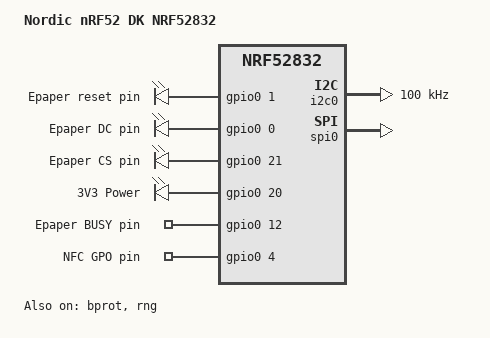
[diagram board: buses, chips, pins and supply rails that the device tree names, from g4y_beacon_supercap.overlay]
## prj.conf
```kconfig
CONFIG_BT=y
CONFIG_BT_DEVICE_NAME="G4y_CapVersion"
##CONFIG_BT_CTLR_TX_PWR_MINUS_4=y  #Set the TX power
CONFIG_BT_LL_SW_SPLIT=n
CONFIG_BT_CTLR_ADVANCED_FEATURES=y
CONFIG_BT_CTLR_TX_PWR_DYNAMIC_CONTROL=y
CONFIG_REBOOT=y


CONFIG_I2C=y
CONFIG_I2C_NRFX=y
CONFIG_GPIO=y
CONFIG_SPI=y
CONFIG_PINCTRL=y
CONFIG_CLOCK_CONTROL_NRF_K32SRC_RC=y

CONFIG_LOG=n
CONFIG_SERIAL=n
CONFIG_STDOUT_CONSOLE=n


CONFIG_PM=y
CONFIG_PM_DEVICE=y
CONFIG_PM_DEVICE_RUNTIME=y
CONFIG_PM_S2RAM=n


CONFIG_DEBUG_OPTIMIZATIONS=n
CONFIG_DEBUG_THREAD_INFO=n
CONFIG_GPIO_AS_PINRESET=n
```

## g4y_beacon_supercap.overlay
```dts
// To get started, press Ctrl+Space to bring up the completion menu and view the available nodes.

// You can also use the buttons in the sidebar to perform actions on nodes.
// Actions currently available include:

// * Enabling / disabling the node
// * Adding the bus to a bus
// * Removing the node
// * Connecting ADC channels

// For more help, browse the DeviceTree documentation at https://docs.zephyrproject.org/latest/guides/dts/index.html
// You can also visit the nRF DeviceTree extension documentation at https://nrfconnect.github.io/vscode-nrf-connect/devicetree/nrfdevicetree.html

&uart0 {
	status = "disabled";
};


&i2c0 {
    clock-frequency = <I2C_BITRATE_STANDARD>;
    status = "okay";
};


&timer0 {
    status = "disabled";
};

&timer1 {
    status = "disabled";
};

&timer2 {
    status = "disabled";
};


/ {
    model = "Nordic nRF52 DK NRF52832";
    compatible = "nordic,nrf52-dk-nrf52832";

    leds {
        compatible = "gpio-leds";

        epreset: ep_reset {
            gpios = <&gpio0 1 GPIO_ACTIVE_HIGH>;
            label = "Epaper reset pin";
        };

        epdc: ep_dc {
            gpios = <&gpio0 0 GPIO_ACTIVE_HIGH>;
            label = "Epaper DC pin";
        };

        csgpios: cs_gpios {
            gpios = <&gpio0 21 GPIO_ACTIVE_HIGH>;
            label = "Epaper CS pin";
        };

        pwrgpios: pwr_gpios {
            gpios = <&gpio0 20 GPIO_ACTIVE_HIGH>;
            label = "3V3 Power";
        };

    };

    buttons {
        compatible = "gpio-keys";
        epbusy: ep_busy {
            gpios = <&gpio0 12  GPIO_ACTIVE_HIGH>;
            label = "Epaper BUSY pin";
        };

        nfcgpo: nfc_gpo {
            gpios = <&gpio0 4 GPIO_ACTIVE_HIGH>;
            label = "NFC GPO pin";
        };
    };
};

&spi0 {
	status = "okay";
};

&spi0_default {
    group1 {
        psels = <NRF_PSEL(SPIM_MOSI, 0, 5)>,
                <NRF_PSEL(SPIM_MISO, 0, 2)>,
                <NRF_PSEL(SPIM_SCK, 0, 14)>;
    };
};

&i2c0_default {
    scl_group {
        psels = <NRF_PSEL(TWIM_SCL, 0, 16)>;
        nordic,drive-mode = <NRF_DRIVE_H0H1>;
    };
    sda_group {
        psels = <NRF_PSEL(TWIM_SDA, 0, 18)>;
        nordic,drive-mode = <NRF_DRIVE_H0D1>;
    };
};
/delete-node/ &{/pin-controller/i2c0_default/group1/};

&bprot {
    status = "okay";
};

&wdt {
    status = "disabled";
};

&rng {
    status = "okay";
};

&rtc0 {
    status = "disabled";
};

&rtc1 {
    status = "disabled";
};

&swi2 {
    status = "disabled";
};

&swi3 {
    status = "disabled";
};

&swi4 {
    status = "disabled";
};

&swi5 {
    status = "disabled";
};

&temp {
    status = "disabled";
};

&adc {
    status = "disabled";

  };
&uicr {
    status = "disabled";
};

&clock {
    status = "okay";
};

&ficr {
    status = "disabled";
};

&spi0_sleep {

    group2 {
        psels = <NRF_PSEL(SPIM_SCK, 0, 14)>,
                <NRF_PSEL(SPIM_MOSI, 0, 5)>,
                <NRF_PSEL(SPIM_MISO, 0, 2)>;
        nordic,invert;
        low-power-enable;
    };
};
/delete-node/ &{/pin-controller/spi0_sleep/group1/};

&i2c0_sleep {

    group2 {
        psels = <NRF_PSEL(TWIM_SCL, 0, 16)>, <NRF_PSEL(TWIM_SDA, 0, 18)>;
    };
};
/delete-node/ &{/pin-controller/i2c0_sleep/group1/};
```

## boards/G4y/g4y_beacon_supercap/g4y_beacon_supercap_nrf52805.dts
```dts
// Copyright (c) 2023 Nordic Semiconductor ASA
// SPDX-License-Identifier: Apache-2.0

/dts-v1/;
#include <nordic/nrf52805_caaa.dtsi>

/ {
	model = "G4y_Beacon_SuperCap";
	compatible = "g4y,g4y-beacon-supercap";

	chosen {
		zephyr,sram = &sram0;
		zephyr,flash = &flash0;
		zephyr,code-partition = &slot0_partition;
	};
};

&flash0 {
	partitions {
		compatible = "fixed-partitions";
		#address-cells = <1>;
		#size-cells = <1>;

		boot_partition: partition@0 {
			label = "mcuboot";
			reg = <0x0 0xc000>;
		};
		slot0_partition: partition@c000 {
			label = "image-0";
			reg = <0xc000 0xa000>;
		};
		slot1_partition: partition@16000 {
			label = "image-1";
			reg = <0x16000 0xa000>;
		};
		scratch_partition: partition@20000 {
			label = "image-scratch";
			reg = <0x20000 0xa000>;
		};
		storage_partition: partition@2a000 {
			label = "storage";
			reg = <0x2a000 0x6000>;
		};
	};
};

&pinctrl {
	i2c0_default: i2c0_default {
		group1 {
			psels = <NRF_PSEL(TWIM_SDA, 0, 18)>,
				<NRF_PSEL(TWIM_SCL, 0, 16)>;
		};
	};

	i2c0_sleep: i2c0_sleep {
		group1 {
			psels = <NRF_PSEL(TWIM_SDA, 0, 18)>,
				<NRF_PSEL(TWIM_SCL, 0, 16)>;
			low-power-enable;
		};
	};

	spi0_default: spi0_default {
		group1 {
			psels = <NRF_PSEL(SPIM_SCK, 0, 14)>,
				<NRF_PSEL(SPIM_MOSI, 0, 5)>,
				<NRF_PSEL(SPIM_MISO, 0, 2)>;
		};
	};

	spi0_sleep: spi0_sleep {
		group1 {
			psels = <NRF_PSEL(SPIM_SCK, 0, 14)>,
				<NRF_PSEL(SPIM_MOSI, 0, 5)>,
				<NRF_PSEL(SPIM_MISO, 0, 2)>;
			low-power-enable;
		};
	};
};




&i2c0 {
	compatible = "nordic,nrf-twi";
	/* Cannot be used together with spi1. */
	 status = "okay"; 
	pinctrl-0 = <&i2c0_default>;
	pinctrl-1 = <&i2c0_sleep>;
	pinctrl-names = "default", "sleep";
};

&spi0 {
	compatible = "nordic,nrf-spi";
	/* Cannot be used together with i2c0. */
	/* status = "okay"; */
	pinctrl-0 = <&spi0_default>;
	pinctrl-1 = <&spi0_sleep>;
	pinctrl-names = "default", "sleep";
};

&gpiote {
	status = "okay";
};

&gpio0 {
	status = "okay";
};
```

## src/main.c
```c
/* main.c - Application main entry point */

/*
 * Copyright (c) 2015-2016 Intel Corporation
 *
 * SPDX-License-Identifier: Apache-2.0
 */

#include <zephyr/types.h>
#include <stddef.h>
#include <zephyr/sys/util.h>
#include <zephyr/sys/byteorder.h>
#include <zephyr/drivers/gpio.h>
#include <zephyr/bluetooth/bluetooth.h>
#include <zephyr/bluetooth/hci.h>
#include <zephyr/bluetooth/hci_vs.h>
#include <zephyr/sys/reboot.h>
#include <zephyr/toolchain.h>
#include <zephyr/pm/pm.h>
#include <zephyr/pm/policy.h>
#include <zephyr/pm/device.h>
#include "../../zephyr/subsys/bluetooth/controller/include/ll.h"
#include <zephyr/drivers/i2c.h>
#include <errno.h>
#include <zephyr/kernel.h>
#include <zephyr/device.h>

#include "NfcTag.h"
#include "GDEW0154M10.h"
#include "epaper.h"
#include "main.h"

//*** After writing send the command nrfjprog --reset

#define DEVICE_NAME CONFIG_BT_DEVICE_NAME
#define DEVICE_NAME_LEN (sizeof(DEVICE_NAME) - 1)

#define NFC_GPO_WAIT_TIME 10000

struct bt_le_adv_param ble_par;

uint8_t buffer_URL[URL_BUFFER] = {0};
uint8_t buffer_check_URL[URL_BUFFER] = {0};
uint8_t adv, epaper;
uint8_t check_adv, check_epaper, power, check_power;

int8_t bt_power;

/*
 * Set Advertisement data. Based on the Eddystone specification:
 * https://github.com/google/eddystone/blob/master/protocol-specification.md
 * https://github.com/google/eddystone/tree/master/eddystone-url
 */

struct gpio_dt_spec pwr_pin = GPIO_DT_SPEC_GET(DT_NODELABEL(pwrgpios), gpios);
struct gpio_dt_spec nfc_gpo_pin = GPIO_DT_SPEC_GET(DT_NODELABEL(nfcgpo), gpios);

void set_tx_power(uint8_t handle_type, uint16_t handle, int8_t tx_pwr_lvl);

static struct gpio_callback nfc_gpo_cb;
K_SEM_DEFINE(nfc_gpo_sem, 0, 1);

#define Power_EN()                                \
	gpio_pin_configure_dt(&pwr_pin, GPIO_OUTPUT); \
	gpio_pin_set_dt(&pwr_pin, 0);                 \
	k_msleep(100);
// #define Power_DI() gpio_pin_set_dt(&pwr_pin, 1)

#define Power_DI() \
	k_msleep(20);  \
	gpio_pin_set_dt(&pwr_pin, 1)

uint8_t beacon_data[URL_BUFFER + 6] = {0};

static struct bt_data ad[3] = {
	BT_DATA_BYTES(BT_DATA_FLAGS, BT_LE_AD_NO_BREDR),
	BT_DATA_BYTES(BT_DATA_UUID16_ALL, 0xaa, 0xfe),
	{0}};

/* Set Scan Response data */
static struct bt_data sd[] = {
	BT_DATA(BT_DATA_NAME_COMPLETE, DEVICE_NAME, DEVICE_NAME_LEN),
};

/* Configure GPIO pads as pPin Reset pin if Pin Reset capabilities desired. If CONFIG_GPIO_AS_PINRESET is not
	defined, pin reset will not be available. One GPIO (see Product Specification to see which one) will then be
	reserved for PinReset and not available as normal GPIO. */

static void bt_ready(int err)
{
	char addr_s[BT_ADDR_LE_STR_LEN];
	bt_addr_le_t addr = {0};
	size_t count = 1;
	if (err)
	{
		return;
	}

	/* Start advertising */
	err = bt_le_adv_start(&ble_par, ad, ARRAY_SIZE(ad), sd, ARRAY_SIZE(sd));
	if (err)
	{
		return;
	}

	/* For connectable advertising you would use
	 * bt_le_oob_get_local().  For non-connectable non-identity
	 * advertising an non-resolvable private address is used;
	 * there is no API to retrieve that.
	 */

	bt_id_get(&addr, &count);
	bt_addr_le_to_str(&addr, addr_s, sizeof(addr_s));
	set_tx_power(BT_HCI_VS_LL_HANDLE_TYPE_ADV, 0, bt_power);
}

void set_tx_power(uint8_t handle_type, uint16_t handle, int8_t tx_pwr_lvl)
{
	struct bt_hci_cp_vs_write_tx_power_level *cp;
	struct bt_hci_rp_vs_write_tx_power_level *rp;
	struct net_buf *buf, *rsp = NULL;
	int err;

	buf = bt_hci_cmd_create(BT_HCI_OP_VS_WRITE_TX_POWER_LEVEL,
							sizeof(*cp));
	if (!buf)
	{
		return;
	}

	cp = net_buf_add(buf, sizeof(*cp));
	cp->handle = sys_cpu_to_le16(handle);
	cp->handle_type = handle_type;
	cp->tx_power_level = tx_pwr_lvl;

	err = bt_hci_cmd_send_sync(BT_HCI_OP_VS_WRITE_TX_POWER_LEVEL, buf, &rsp);
	if (err)
	{
		return;
	}

	rp = (void *)rsp->data;
	net_buf_unref(rsp);
}

void nfc_gpo_event(const struct device *dev, struct gpio_callback *cb, uint32_t pins)
{
	ARG_UNUSED(dev);
	ARG_UNUSED(cb);
	ARG_UNUSED(pins);

	k_sem_give(&nfc_gpo_sem);
}

int main(void)
{

	uint16_t adv_temp;
	k_msleep(5000);
	Power_EN();
	k_msleep(1000);
	NfcTag_init();

	//	uint8_t pwd[4]={0};
	// NfcTag_submitPassWd(pwd);

	//	NfcTag_clearSectorProtect();

	if (NFCGetData(&buffer_URL[0], &power, &adv, &epaper) == NFC_ERROR_READ)
	{
		strcpy(&buffer_URL[0], "URL_ERROR.com");
	}
	else
	{
		NfcTag_HideConfig(strlen(buffer_URL));
	}

	if (epaper == 1)
	{
		Epaper_InitQR(buffer_URL);
		Epaper_Init();
		Epaper_PrintQR();
	}

	switch (power)
	{
	case 0:
		bt_power = RADIO_TXPOWER_TXPOWER_Neg40dBm;
		break;

	case 1:
		bt_power = RADIO_TXPOWER_TXPOWER_Neg20dBm;
		break;

	case 2:
		bt_power = RADIO_TXPOWER_TXPOWER_Neg16dBm;
		break;

	case 3:
		bt_power = RADIO_TXPOWER_TXPOWER_Neg12dBm;
		break;

	case 4:
		bt_power = RADIO_TXPOWER_TXPOWER_Neg8dBm;
		break;

	case 5:
		bt_power = RADIO_TXPOWER_TXPOWER_Neg4dBm;
		break;

	case 6:
		bt_power = RADIO_TXPOWER_TXPOWER_0dBm;
		break;

	case 7:
		bt_power = RADIO_TXPOWER_TXPOWER_Pos3dBm;
		break;

	case 8:
		bt_power = RADIO_TXPOWER_TXPOWER_Pos4dBm;
		break;

	default:
		bt_power = RADIO_TXPOWER_TXPOWER_0dBm;
		break;
	}

	beacon_data[0] = 0xaa;	   /* Eddystone UUID MSB*/
	beacon_data[1] = 0xfe;	   /* Eddystone UUID LSB*/
	beacon_data[2] = 0x10;	   /* Eddystone-URL frame type */
	beacon_data[3] = bt_power; /* Calibrated Tx power in db */
	beacon_data[4] = 0x00;	   /* URL Scheme Prefix http://www. */
	strcpy(&beacon_data[5], buffer_URL);

	ad[2].data = (const uint8_t *)&beacon_data[0];
	ad[2].type = BT_DATA_SVC_DATA16;
	ad[2].data_len = strlen(buffer_URL) + 5;

	/* Initialize the Bluetooth Subsystem */

	ble_par.id = BT_ID_DEFAULT;
	ble_par.sid = 0;
	ble_par.secondary_max_skip = 0;
	ble_par.options = BT_LE_ADV_OPT_USE_IDENTITY;
	ble_par.peer = NULL;

	adv_temp = adv * 160;
	if (adv_temp < 0x0020)
	{
		adv_temp = 0x0020;
	}
	if (adv_temp > 0x4000)
	{
		adv_temp = 0x4000;
	}

	ble_par.interval_max = adv_temp;
	adv_temp = adv_temp - 10;
	if (adv_temp < 0x0020)
	{
		adv_temp = 0x0020;
	}
	ble_par.interval_min = adv_temp;

	bt_enable(bt_ready);

	set_tx_power(BT_HCI_VS_LL_HANDLE_TYPE_ADV, 0, bt_power);

	NfcTag_setEnergyHarvesting(false);
	NfcTag_GoSleep();
	if (epaper == 1)
	{
		Epaper_Gosleep();
	}
	Power_DI();

	gpio_pin_configure_dt(&nfc_gpo_pin, GPIO_INPUT);
	gpio_init_callback(&nfc_gpo_cb, nfc_gpo_event, BIT(nfc_gpo_pin.pin));
	gpio_add_callback(nfc_gpo_pin.port, &nfc_gpo_cb);
	gpio_pin_interrupt_configure_dt(&nfc_gpo_pin, GPIO_INT_EDGE_FALLING);

	while (1)
	{
		if (k_sem_take(&nfc_gpo_sem, K_MSEC(NFC_GPO_WAIT_TIME)) == 0)
		{
			Power_EN();
			NfcTag_Resume();
			//NfcTag_setEnergyHarvesting(false);
			if (NfcTag_wasRfWriteEvent() &&
				(NFCGetData(&buffer_check_URL[0], &check_power, &check_adv, &check_epaper) != NFC_ERROR_READ))
			{
				if ((strcmp(buffer_check_URL, buffer_URL) != 0) || (check_power != power) || (check_adv != adv) || (check_epaper != epaper))
				{
					//NfcTag_setEnergyHarvesting(true);
					sys_reboot(SYS_REBOOT_COLD);
				}
				else
				{
					buffer_check_URL[0] = 0;
					check_power = 0xFF;
					check_adv = 0xFF;
					check_epaper = 0xFF;
				}
			}
			//NfcTag_setEnergyHarvesting(true);
			NfcTag_GoSleep();
			Power_DI();
		}
	}
}
```

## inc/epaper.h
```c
#include <stdbool.h>
// Hard-coded dimensions of the display
#define WIDTH 152
#define HEIGHT 152

void Epaper_Init(void);

void Epaper_InitQR(uint8_t *buff);
void Epaper_PrintQR(void);

void Epaper_SetBitArray(uint8_t x, bool c, uint8_t *buff);
void Epaper_printconsole(uint8_t *buff, uint8_t size);
void Epaper_Gosleep(void);
```

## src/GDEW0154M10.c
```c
#include <stdio.h>
#include <stdint.h>
#include <errno.h>
#include <zephyr/kernel.h>
#include <zephyr/device.h>
#include <zephyr/drivers/gpio.h>
#include <zephyr/drivers/spi.h>
#include <zephyr/pm/pm.h>
#include <zephyr/pm/policy.h>
#include <zephyr/pm/device.h>

#include "GDEW0154M10.h"
#include "epaper.h"

const struct gpio_dt_spec rst_pin = GPIO_DT_SPEC_GET(DT_NODELABEL(epreset), gpios);
const struct gpio_dt_spec DC_pin = GPIO_DT_SPEC_GET(DT_NODELABEL(epdc), gpios);
const struct gpio_dt_spec busy_pin = GPIO_DT_SPEC_GET(DT_NODELABEL(epbusy), gpios);
const struct gpio_dt_spec cs_pin = GPIO_DT_SPEC_GET(DT_NODELABEL(csgpios), gpios);

const struct device *const spi_dev = DEVICE_DT_GET(DT_NODELABEL(spi0));
// struct spi_cs_control *ctrl = SPI_CS_CONTROL_PTR_DT(DT_NODELABEL(spi_dev), 2);
struct spi_cs_control cs_ctrl;
struct spi_config spi_cfg = {0};

#define GDE_SET_CMD() gpio_pin_set_dt(&DC_pin, 0)
#define GDE_SET_DATA() gpio_pin_set_dt(&DC_pin, 1)
#define GDE_GET_BUSY() gpio_pin_get_dt(&busy_pin)
#define GDE_CS_HIGH() gpio_pin_set_dt(&cs_pin, 1)
#define GDE_CS_LOW() gpio_pin_set_dt(&cs_pin, 0)

void GDE_Init(void)
{

    if (!device_is_ready(spi_dev))
    {
        return;
    }

    spi_cfg.operation = SPI_OP_MODE_MASTER | SPI_MODE_CPOL | SPI_MODE_CPHA | SPI_WORD_SET(8) | SPI_LINES_SINGLE | SPI_FULL_DUPLEX;
    spi_cfg.frequency = 8000000U;
   // spi_cfg.cs = 0; // &cs_ctrl;

    gpio_pin_configure_dt(&rst_pin, GPIO_OUTPUT);
    gpio_pin_configure_dt(&DC_pin, GPIO_OUTPUT);
    gpio_pin_configure_dt(&busy_pin, GPIO_INPUT);
    gpio_pin_configure_dt(&cs_pin, GPIO_OUTPUT);

    GDE_CS_HIGH();
    GDE_Reset();

    GDE_Get_Busy(1000);

    GDE_WriteCMD(BOOSTER_SOFT_START);
    GDE_WriteData(0x17);
    GDE_WriteData(0x17);
    GDE_WriteData(0x17);

    GDE_WriteCMD(POWER_SETTING);
    GDE_WriteData(0x03);
    GDE_WriteData(0x00);
    GDE_WriteData(0x2B);
    GDE_WriteData(0x2B);
    GDE_WriteData(0x09);

    GDE_WriteCMD(POWER_ON);

    GDE_WriteCMD(PANEL_SETTING);
    // GDE_WriteData(0xDF); // LUT from OTB.
    GDE_WriteData(0x1F);

    GDE_WriteCMD(TCON_RESOLUTION);
    GDE_WriteData(0x98);
    GDE_WriteData(0x00);
    GDE_WriteData(0x98);

    GDE_WriteCMD(VCOM_AND_DATA_INTERVAL_SETTING);
    //       GDE_WriteData(0x8F);
    // GDE_WriteData(0xF7);
    GDE_WriteData(0x97);

    GDE_WriteCMD(VCM_DC_SETTING_REGISTER);
    GDE_WriteData(0x0A);

    GDE_clear();
}

void GDE_Refresh(void)
{
    GDE_WriteCMD(DISPLAY_REFRESH);
    k_msleep(15);
}

void GDE_Sleep(void)
{
    //GDE_WriteCMD(POWER_OFF);
    //GDE_Get_Busy(2000);
   // k_msleep(1000);
    GDE_WriteCMD(DEEP_SLEEP);
    GDE_WriteData(0xA5);

}

void GDE_Off(void)
{
    pm_device_action_run(spi_dev, PM_DEVICE_ACTION_SUSPEND);

    /* Porta tutti i pin in input per evitare correnti parassite
     * quando l'alimentazione del display è spenta. */
    gpio_pin_configure_dt(&rst_pin, GPIO_INPUT);
    gpio_pin_configure_dt(&DC_pin, GPIO_INPUT);
    gpio_pin_configure_dt(&busy_pin, GPIO_INPUT);
    gpio_pin_configure_dt(&cs_pin, GPIO_INPUT);
}

void GDE_Reset(void)
{
    gpio_pin_set_dt(&rst_pin, 0);
    k_msleep(200);
    gpio_pin_set_dt(&rst_pin, 1);
    k_msleep(200);
}

void GDE_FixReset(void)
{
    gpio_pin_configure_dt(&rst_pin,GPIO_OUTPUT);
    gpio_pin_set_dt(&rst_pin, 0);
}
bool GDE_Get_Busy(uint16_t timeout)
{
    while (GDE_GET_BUSY() == 0)
    {
        k_msleep(1);
        timeout--;
        if (timeout == 0)
        {
            return false;
        }
    }

    return true;
}

void GDE_WriteCMD(uint8_t cmd)
{
    uint8_t dummybf[1];
    dummybf[0] = cmd;
    struct spi_buf bufs[1];
    struct spi_buf_set tx;

    GDE_SET_CMD();
    bufs->buf = dummybf;
    bufs->len = 1;
    tx.buffers = bufs;
    tx.count = 1;

    GDE_Get_Busy(6000);

    GDE_CS_LOW();
    spi_write(spi_dev, &spi_cfg, &tx);
    GDE_CS_HIGH();
}

void GDE_WriteData(uint8_t data)
{

    uint8_t dummybf[1];
    dummybf[0] = data;
    struct spi_buf bufs[1];
    struct spi_buf_set tx;

    GDE_SET_DATA();
    bufs->buf = dummybf;
    bufs->len = 1;
    tx.buffers = bufs;
    tx.count = 1;
    GDE_CS_LOW();
    spi_write(spi_dev, &spi_cfg, &tx);
    GDE_CS_HIGH();
}

void GDE_StartWriteDataBuffer(void)
{
    GDE_WriteCMD(DATA_START_TRANSMISSION_2);
    GDE_SET_DATA();
    GDE_CS_LOW();
}

void GDE_AppendWriteDataBuffer(uint8_t *data, uint16_t size)
{
    struct spi_buf bufs;
    struct spi_buf_set tx;

    bufs.buf = data;
    bufs.len = size;

    tx.buffers = &bufs;
    tx.count = 1;
    GDE_CS_LOW();
    spi_write(spi_dev, &spi_cfg, &tx);

    GDE_CS_HIGH();
}

void GDE_EndWriteDataBuffer(void)
{
    GDE_CS_HIGH();
}


void GDE_clear(void)
{
    GDE_WriteCMD(DATA_START_TRANSMISSION_1);
    for (uint16_t i = 0; i < 2889; i++)
    {
        GDE_WriteData(0xFF);
    }
    GDE_WriteCMD(DATA_START_TRANSMISSION_2);
    for (uint16_t i = 0; i < 2889; i++)
    {
        GDE_WriteData(0xFF);
    }
}
```

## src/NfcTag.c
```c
#include "NfcTag.h"
#include "main.h"
#include <stdio.h>
#include <errno.h>
#include <zephyr/kernel.h>
#include <zephyr/device.h>
#include <zephyr/drivers/gpio.h>
#include <zephyr/drivers/i2c.h>
#include <zephyr/sys/util.h>

/* I2C pins (TWIM SCL = P0.16) */
#define I2C_GPIO_DEV    DEVICE_DT_GET(DT_NODELABEL(gpio0))
#define I2C_SCL_PIN     16
#include <zephyr/pm/pm.h>
#include <zephyr/pm/policy.h>
#include <zephyr/pm/device.h>


#define NFC_BASE_ADDRESS ST25DV_I2C_USER_ADDR
#define NFC_SYSTEM_ADDRESS ST25DV_I2C_SYSTEM_ADDR
#define ST25DV_GPO_ENABLE 0x01
#define ST25DV_GPO_RF_WRITE_ENABLE 0x80
#define ST25DV_IT_STS_RF_WRITE 0x80
#define ST25DV_I2C_PRESENT_PASSWORD 0x09
#define ST25DV_EH_ON_DEMAND 0x01
#define ST25DV_EH_ENABLE 0x01
#define ST25DV_EH_DISABLE 0x00
#define ST25DV_MAX_I2C_WRITE 256
#define ST25DV_I2C_RETRY_COUNT 2
#define ST25DV_EEPROM_WRITE_MS 10

uint8_t NFC_I2C_ADDRESS;
const struct device *const i2c_nfc = DEVICE_DT_GET(DT_NODELABEL(i2c0));

/* RF/NFC passwords are independent; production changes only those. */
static const uint8_t st25dv_default_i2c_password[PASSWORD_LENGTH] = {0};
static bool st25dv_present_i2c_password(const uint8_t *passWd);
static uint8_t st25dv_read_byte_at(uint8_t i2c_address, unsigned int address, uint8_t *data);
static uint8_t st25dv_write_byte_at(uint8_t i2c_address, unsigned int address, uint8_t data);
static uint8_t st25dv_write_eeprom_byte_checked(uint8_t i2c_address, unsigned int address, uint8_t data);

void NfcTag_init(void)
{
    if (!device_is_ready(i2c_nfc))
    {
        return;
    }

    NFC_I2C_ADDRESS = NFC_BASE_ADDRESS;
    NfcTag_setEnergyHarvesting(false);
    (void)st25dv_write_byte_at(NFC_BASE_ADDRESS, ST25DV_GPO_CTRL_DYN_ADDR, ST25DV_GPO_ENABLE);
    if (st25dv_present_i2c_password(st25dv_default_i2c_password))
    {
        (void)st25dv_write_eeprom_byte_checked(NFC_SYSTEM_ADDRESS, ST25DV_GPO1_ADDR,
                                               ST25DV_GPO_ENABLE | ST25DV_GPO_RF_WRITE_ENABLE);
        (void)st25dv_write_eeprom_byte_checked(NFC_SYSTEM_ADDRESS, ST25DV_EH_MODE_ADDR,
                                               ST25DV_EH_ON_DEMAND);
    }
    NFC_I2C_ADDRESS = NFC_BASE_ADDRESS;
    (void)NfcTag_wasRfWriteEvent();
    k_msleep(10);
}

void NfcTag_GoSleep(void)
{
    /* Fissa SCL a LOW, poi sospende il periferico I2C. */
    pm_device_action_run(i2c_nfc, PM_DEVICE_ACTION_SUSPEND);
    gpio_pin_configure(I2C_GPIO_DEV, I2C_SCL_PIN, GPIO_OUTPUT);
    gpio_pin_set(I2C_GPIO_DEV, I2C_SCL_PIN, 0);
}

void NfcTag_Resume(void)
{

    pm_device_action_run(i2c_nfc, PM_DEVICE_ACTION_RESUME);
}

bool NfcTag_wasRfWriteEvent(void)
{
    uint8_t it_status;

    NFC_I2C_ADDRESS = NFC_BASE_ADDRESS;
    if (st25dv_read_byte_at(NFC_BASE_ADDRESS, ST25DV_IT_STS_DYN_ADDR, &it_status) != 0)
    {
        return false;
    }

    return (it_status & ST25DV_IT_STS_RF_WRITE) != 0;
}

void NfcTag_setEnergyHarvesting(bool enable)
{
    NFC_I2C_ADDRESS = NFC_BASE_ADDRESS;
    (void)st25dv_write_byte_at(NFC_BASE_ADDRESS, ST25DV_EH_CTRL_DYN_ADDR,
                               enable ? ST25DV_EH_ENABLE : ST25DV_EH_DISABLE);
}

static bool st25dv_present_i2c_password(const uint8_t *passWd)
{
    uint8_t sso;

    for (int attempt = 0; attempt < ST25DV_I2C_RETRY_COUNT; attempt++)
    {
        NfcTag_submitPassWd((uint8_t *)passWd);
        k_msleep(ST25DV_EEPROM_WRITE_MS);

        if ((st25dv_read_byte_at(NFC_BASE_ADDRESS, ST25DV_I2C_SSO_DYN_ADDR, &sso) == 0) &&
            ((sso & 0x01) != 0))
        {
            NFC_I2C_ADDRESS = NFC_BASE_ADDRESS;
            return true;
        }
    }

    NFC_I2C_ADDRESS = NFC_BASE_ADDRESS;
    return false;
}

/**
 * Get full Configuration
 */
uint8_t NFCGetData(uint8_t *url, uint8_t *pwr, uint8_t *adv, uint8_t *ep)
{

    uint8_t dummy[50] = {0};
    uint8_t index = 0;
    uint8_t url_len = 0;
    uint8_t ret = NFC_ERROR_READ;

    *pwr = 6;
    *adv = 10;
    *ep = 1;
    if (NfcTag_readBytes(0x00, dummy, sizeof(dummy)) != 0)
    {
        url[0] = 0;
        return NFC_ERROR_READ;
    }
    if ((dummy[0] == 0xE1) && (dummy[4] == 0x03))
    {

        if ((dummy[8] > 0) && (dummy[9] == 0x55))
        {
            url_len = dummy[8] - 1;
            if (url_len >= URL_BUFFER)
            {
                url_len = URL_BUFFER - 1;
            }
            if ((uint16_t)11 + url_len > sizeof(dummy))
            {
                url[0] = 0;
                return NFC_ERROR_READ;
            }
            for (index = 0; index < url_len; index++)
            {

                url[index] = dummy[11 + index];
            }
            url[url_len] = 0;

            index = dummy[8] + 13;
            if (index >= sizeof(dummy))
            {
                return ret;
            }
            ret = NFC_ONLY_URL;
        }
        if (dummy[index] == 0x54)
        {
            index = index + 4;
            if (dummy[index] == 0x2B)
            {
                index += 1;
                *pwr = (dummy[index] - '0');
                index += 1;
                if (dummy[index] != 0x2B)
                {
                    *pwr = ((*pwr) * 10) + (dummy[index] - '0');
                    index += 1;
                }
                ret = NFC_COMPLETE;
            }
            if (dummy[index] == 0x2B)
            {
                index += 1;
                *adv = (dummy[index] - '0');
                index += 1;
                if (dummy[index] != 0x2B)
                {
                    *adv = ((*adv) * 10) + (dummy[index] - '0');
                    index += 1;
                }
                ret = NFC_COMPLETE;
            }

            if (dummy[index] == 0x2B)
            {
                index += 1;
                *ep = (dummy[index] - '0');
                ret = NFC_COMPLETE;
            }
        }
    }
    return ret;
}

void NfcTag_HideConfig(uint8_t lengh)
{
    (void)st25dv_write_eeprom_byte_checked(NFC_BASE_ADDRESS, 0x05, lengh + 5);
    (void)st25dv_write_eeprom_byte_checked(NFC_BASE_ADDRESS, 0x06, 0xD1);
}

void NfcTag_submitPassWd(uint8_t *passWd)
{
    uint8_t data[17];
    uint8_t ret;

    memcpy(&data[0], passWd, PASSWORD_LENGTH);
    data[8] = ST25DV_I2C_PRESENT_PASSWORD;
    memcpy(&data[9], passWd, PASSWORD_LENGTH);

    NFC_I2C_ADDRESS = NFC_SYSTEM_ADDRESS;
    for (int attempt = 0; attempt < ST25DV_I2C_RETRY_COUNT; attempt++)
    {
        ret = NfcTag_writeBytes(ST25DV_I2C_PWD_ADDR, data, sizeof(data));
        if (ret == 0)
        {
            break;
        }
        k_msleep(ST25DV_EEPROM_WRITE_MS);
    }
    NFC_I2C_ADDRESS = NFC_BASE_ADDRESS;
}

void NfcTag_writePassWd(uint8_t *passWd)
{
    ARG_UNUSED(passWd);
}

// void NfcTag_sectorProtectConfig(unsigned int sectorNumber, bool protectEnable, enum SectorAccessRight accessRight = Access_1110, enum SectorSelectPassWd passWd = noPassWd)
void NfcTag_sectorProtectConfig(unsigned int sectorNumber, bool protectEnable, enum SectorAccessRight accessRight, enum SectorSelectPassWd passWd)
{
    ARG_UNUSED(sectorNumber);
    ARG_UNUSED(protectEnable);
    ARG_UNUSED(accessRight);
    ARG_UNUSED(passWd);
}

void NfcTag_clearSectorProtect(void)
{
}

void NfcTag_sectorWriteSockConfig(unsigned int sectorNumber, bool sockEnable)
{
    ARG_UNUSED(sectorNumber);
    ARG_UNUSED(sockEnable);
}

uint16_t NfcTag_getRFU()
{
    return 0;
}

uint8_t NfcTag_getUID(uint8_t *buf)
{
    NFC_I2C_ADDRESS = NFC_SYSTEM_ADDRESS;
    NfcTag_readBytes(UID_ADDR, buf, UID_LENGTH);
    NFC_I2C_ADDRESS = NFC_BASE_ADDRESS;
    return UID_LENGTH;
}

uint32_t NfcTag_getMemoryVolume()
{
    uint16_t volume = 0x0;
    NFC_I2C_ADDRESS = NFC_SYSTEM_ADDRESS;
    volume = NfcTag_readByte(MEMORY_VOLUME_ADDR);
    volume = volume << 8 | NfcTag_readByte(MEMORY_VOLUME_ADDR + 1);
    NFC_I2C_ADDRESS = NFC_BASE_ADDRESS;
    return ((uint32_t)volume + 1U) * 4U;
}

uint8_t NfcTag_getICNumber()
{
    uint8_t ic_number;
    NFC_I2C_ADDRESS = NFC_SYSTEM_ADDRESS;
    ic_number = NfcTag_readByte(IC_NUMBER_ADDR);
    NFC_I2C_ADDRESS = NFC_BASE_ADDRESS;
    return ic_number;
}

void NfcTag_clearMemory()
{
    for (int i = 0; i < EEPROM_I2C_LENGTH; i++)
    {
        NfcTag_writeByte(i, 0x0);
    }
}

uint8_t NfcTag_writeByte(unsigned int address, uint8_t data)
{
    return st25dv_write_byte_at(NFC_I2C_ADDRESS, address, data);
}

static uint8_t st25dv_write_byte_at(uint8_t i2c_address, unsigned int address, uint8_t data)
{
    uint8_t dummybuff[3];

    dummybuff[0] = (address >> 8) & 0xFF;
    dummybuff[1] = address & 0xFF;
    dummybuff[2] = data;

    for (int attempt = 0; attempt < ST25DV_I2C_RETRY_COUNT; attempt++)
    {
        if (i2c_write(i2c_nfc, dummybuff, 3, i2c_address) == 0)
        {
            return 0;
        }
        k_msleep(ST25DV_EEPROM_WRITE_MS);
    }

    return 1;
}

uint8_t NfcTag_readByte(unsigned int address)
{
    uint8_t data;

    if (st25dv_read_byte_at(NFC_I2C_ADDRESS, address, &data) != 0)
    {
        return 0xFF;
    }

    return data;
}

static uint8_t st25dv_read_byte_at(uint8_t i2c_address, unsigned int address, uint8_t *data)
{
    uint8_t dummybuff[2] = {0};

    dummybuff[0] = (address >> 8) & 0xFF;
    dummybuff[1] = address & 0xFF;

    for (int attempt = 0; attempt < ST25DV_I2C_RETRY_COUNT; attempt++)
    {
        if (i2c_write_read(i2c_nfc, i2c_address, dummybuff, sizeof(dummybuff), data, 1) == 0)
        {
            return 0;
        }
        k_msleep(ST25DV_EEPROM_WRITE_MS);
    }

    return 1;
}

static uint8_t st25dv_write_eeprom_byte_checked(uint8_t i2c_address, unsigned int address, uint8_t data)
{
    uint8_t readback;

    if ((st25dv_read_byte_at(i2c_address, address, &readback) == 0) && (readback == data))
    {
        return 0;
    }

    for (int attempt = 0; attempt < ST25DV_I2C_RETRY_COUNT; attempt++)
    {
        if (st25dv_write_byte_at(i2c_address, address, data) == 0)
        {
            k_msleep(ST25DV_EEPROM_WRITE_MS);
            if ((st25dv_read_byte_at(i2c_address, address, &readback) == 0) && (readback == data))
            {
                return 0;
            }
        }

        k_msleep(ST25DV_EEPROM_WRITE_MS);
    }

    return 1;
}

uint8_t NfcTag_writeBytes(unsigned int address, uint8_t *buf, unsigned int len)
{
    uint8_t buff[ST25DV_MAX_I2C_WRITE + 2];
    struct i2c_msg msgs[1];
    unsigned int i;

    if (len > ST25DV_MAX_I2C_WRITE)
    {
        return 1;
    }

    buff[0] = (address >> 8) & 0xFF;
    buff[1] = address & 0xFF;

    for (i = 0; i < len; i++)
    {
        buff[i + 2] = buf[i];
    }

    /* Setup I2C messages */

    /* Send the address to write to */
    msgs[0].buf = buff;
    msgs[0].len = len + 2;
    msgs[0].flags = I2C_MSG_WRITE;

    for (int attempt = 0; attempt < ST25DV_I2C_RETRY_COUNT; attempt++)
    {
        if (i2c_transfer(i2c_nfc, &msgs[0], 1, NFC_I2C_ADDRESS) == 0)
        {
            return 0;
        }
        k_msleep(ST25DV_EEPROM_WRITE_MS);
    }

    return 1;
}

uint8_t NfcTag_readBytes(unsigned int address, uint8_t *buf, unsigned int len)
{
    uint8_t dummybuff[3];

    dummybuff[0] = (address >> 8) & 0xFF;
    dummybuff[1] = address & 0xFF;

    for (int attempt = 0; attempt < ST25DV_I2C_RETRY_COUNT; attempt++)
    {
        if (i2c_write_read(i2c_nfc, NFC_I2C_ADDRESS, &dummybuff[0], 2, buf, len) == 0)
        {
            return 0;
        }
        k_msleep(ST25DV_EEPROM_WRITE_MS);
    }

    return 1;
}
```

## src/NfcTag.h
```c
#include <stdbool.h>
#include <stdint.h>
#include <string.h>
#include <zephyr/device.h>

#ifndef __NFC_TAG_H__
#define __NFC_TAG_H__

#define EEPROM_ADDR_E2_DISABLE 0x53
#define EEPROM_ADDR_E2_ENABLE 0x57
#define EEPROM_I2C_LENGTH 512

#define PASSWORD_LENGTH 8

#define LOCK_PROTECT_BIT BIT0
#define WRITE_READ_PROTECT_BIT BIT1
#define PASSWORD_CTRL_BIT BIT3

#define ST25DV_I2C_USER_ADDR 0x53
#define ST25DV_I2C_SYSTEM_ADDR 0x57

#define ST25DV_GPO_CTRL_DYN_ADDR 0x2000
#define ST25DV_I2C_SSO_DYN_ADDR 0x2004
#define ST25DV_IT_STS_DYN_ADDR 0x2005

#define ST25DV_GPO1_ADDR 0x0000
#define ST25DV_EH_MODE_ADDR 0x0002
#define ST25DV_I2C_PWD_ADDR 0x0900

#define ST25DV_EH_CTRL_DYN_ADDR 0x2002
#define LOCK_DSFID_ADDR 0x0010
#define LOCK_AFI_ADDR 0x0011
#define DSFID_ADDR 0x0012
#define AFI_ADDR 0x0013
#define MEMORY_VOLUME_ADDR 0x0014 // MEM_SIZE, 2 bytes
#define IC_NUMBER_ADDR 0x0017     // IC_REF, 1 byte
#define UID_ADDR 0x0018           // 8 bytes
#define UID_LENGTH 8

#define NFC_ERROR_READ 0
#define NFC_ONLY_URL 1
#define NFC_COMPLETE 2

enum AccessMode
{
    USER_MODE = 0x0, // offer simple read/write access right
    ROOT_MODE = 0x1, // offer password change access right
};

enum SectorAccessRight
{
    //      **********************************
    //      *  submit passWd *   no submit   *
    // b2,b1 *  Read * Write  *  Read * Write *
    // 00   *    1       1        1      0   *
    // 01   *    1       1        1      1   *
    // 10   *    1       1        0      0   *
    // 11   *    0       1        0      0   *
    //      **********************************
    Access_1110 = 0,
    Access_1111 = 1,
    Access_1100 = 2,
    Access_0111 = 3,
};

enum SectorSelectPassWd
{
    // 00 => no passWd protect
    // 01 => passWd 1
    // 10 => passWd 2
    // 11 => passwd 3
    noPassWd = 0,
    passWd_1 = 1,
    passWd_2 = 2,
    passWd_3 = 3,
};

void NfcTag_init(void);
void NfcTag_GoSleep(void);
void NfcTag_Resume(void);
bool NfcTag_wasRfWriteEvent(void);
void NfcTag_setEnergyHarvesting(bool enable);
uint8_t NfcGetURL(uint8_t *buff);
uint8_t NFCGetData(uint8_t *url, uint8_t *pwr, uint8_t *adv, uint8_t *ep);
void NfcTag_HideConfig(uint8_t lengh);
void NfcTag_submitPassWd(uint8_t *passWd);
void NfcTag_writePassWd(uint8_t *passWd);
void NfcTag_sectorProtectConfig(unsigned int sectorNumber, bool protectEnable, enum SectorAccessRight accessRight, enum SectorSelectPassWd passWd);
void NfcTag_clearSectorProtect(void);
void NfcTag_sectorWriteSockConfig(unsigned int sectorNumber, bool sockEnable);
uint16_t NfcTag_getRFU();
uint8_t NfcTag_getUID(uint8_t *buf);
uint32_t NfcTag_getMemoryVolume();
uint8_t NfcTag_getICNumber();
void NfcTag_clearMemory();
uint8_t NfcTag_readByte(unsigned int address);
uint8_t NfcTag_writeByte(unsigned int address, uint8_t data);
uint8_t NfcTag_writeBytes(unsigned int address, uint8_t *buf, unsigned int len);
uint8_t NfcTag_readBytes(unsigned int address, uint8_t *buf, unsigned int len);

#endif
```
